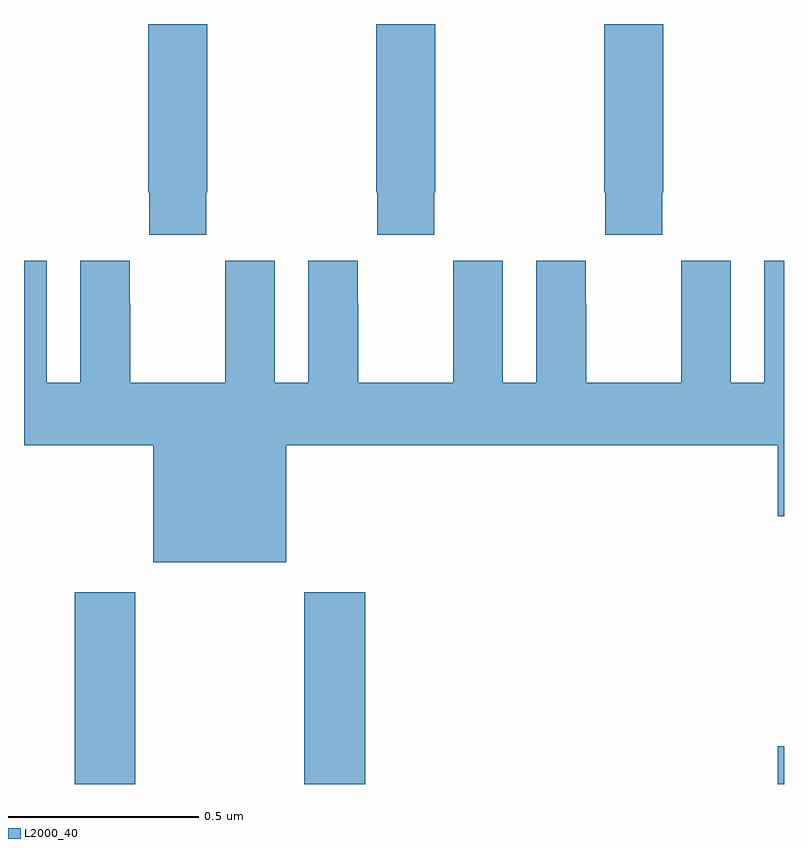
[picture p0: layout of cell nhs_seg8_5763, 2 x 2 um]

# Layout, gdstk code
import gdstk
lib = gdstk.Library(unit=1e-6, precision=1e-09)
def R(c, l, rs):  # rectangles x0, y0, x1, y1
    for r in rs: c.add(gdstk.rectangle(r[:2], r[2:], *l))
def P(c, l, *ps):  # polygons
    for p in ps: c.add(gdstk.Polygon(p, *l))
L2000_40 = (2000, 40)

nhs_seg8_5763 = lib.new_cell('nhs_seg8_5763')
R(nhs_seg8_5763, L2000_40, [(187.133,1156.9,187.293,1157.404), (187.738,1156.9,187.898,1157.404), (188.984,1156.9,189,1156.999)])
P(nhs_seg8_5763, L2000_40, [(187.479,1158.457),(187.482,1158.457),(187.482,1158.9),(187.327,1158.9),(187.327,1158.457),(187.329,1158.457),(187.329,1158.345),(187.479,1158.345)],
  [(188.079,1158.457),(188.082,1158.457),(188.082,1158.9),(187.927,1158.9),(187.927,1158.457),(187.929,1158.457),(187.929,1158.345),(188.079,1158.345)],
  [(188.679,1158.457),(188.682,1158.457),(188.682,1158.9),(188.527,1158.9),(188.527,1158.457),(188.529,1158.457),(188.529,1158.345),(188.679,1158.345)],
  [(187.69,1157.792),(188.984,1157.792),(188.984,1157.604),(189,1157.604),(189,1158.277),(188.948,1158.277),(188.948,1157.956),(188.86,1157.956),(188.86,1158.277),(188.73,1158.277),(188.73,1158.164),(188.729,1158.164),(188.729,1157.956),(188.479,1157.956),(188.479,1158.164),(188.478,1158.164),(188.478,1158.277),(188.348,1158.277),(188.348,1157.956),(188.26,1157.956),(188.26,1158.277),(188.13,1158.277),(188.13,1158.164),(188.129,1158.164),(188.129,1157.956),(187.879,1157.956),(187.879,1158.164),(187.878,1158.164),(187.878,1158.277),(187.748,1158.277),(187.748,1157.956),(187.66,1157.956),(187.66,1158.277),(187.53,1158.277),(187.53,1158.164),(187.529,1158.164),(187.529,1157.956),(187.279,1157.956),(187.279,1158.164),(187.278,1158.164),(187.278,1158.277),(187.148,1158.277),(187.148,1157.956),(187.06,1157.956),(187.06,1158.277),(187,1158.277),(187,1157.792),(187.34,1157.792),(187.34,1157.483),(187.69,1157.483)])

lib.write_gds('nhs_seg8_5763.gds')
